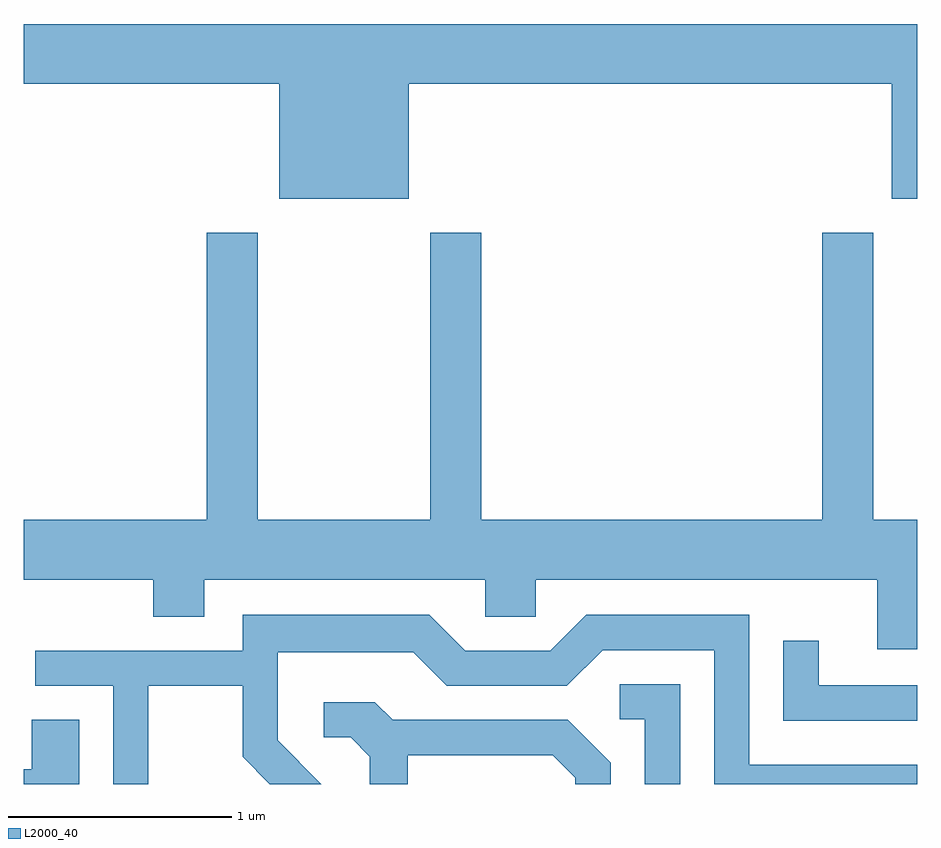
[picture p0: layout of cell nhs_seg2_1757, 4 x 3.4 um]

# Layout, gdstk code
import gdstk
lib = gdstk.Library(unit=1e-6, precision=1e-09)
def P(c, l, *ps):  # polygons
    for p in ps: c.add(gdstk.Polygon(p, *l))
L2000_40 = (2000, 40)

nhs_seg2_1757 = lib.new_cell('nhs_seg2_1757')
P(nhs_seg2_1757, L2000_40, [(237.334,1094.936),(239.496,1094.936),(239.496,1094.421),(239.611,1094.421),(239.611,1095.204),(235.611,1095.204),(235.611,1094.936),(236.756,1094.936),(236.756,1094.421),(237.334,1094.421)],
  [(237.659,1094.269),(237.431,1094.269),(237.431,1092.984),(236.659,1092.984),(236.659,1094.269),(236.431,1094.269),(236.431,1092.984),(235.611,1092.984),(235.611,1092.716),(236.191,1092.716),(236.191,1092.551),(236.419,1092.551),(236.419,1092.716),(237.676,1092.716),(237.676,1092.551),(237.904,1092.551),(237.904,1092.716),(239.431,1092.716),(239.431,1092.406),(239.611,1092.406),(239.611,1092.984),(239.414,1092.984),(239.414,1094.269),(239.186,1094.269),(239.186,1092.984),(237.659,1092.984)],
  [(236.169,1092.241),(236.591,1092.241),(236.591,1091.924),(236.713,1091.802),(236.944,1091.802),(236.749,1091.997),(236.749,1092.391),(237.354,1092.391),(237.504,1092.241),(238.042,1092.241),(238.202,1092.401),(238.701,1092.401),(238.701,1091.802),(239.611,1091.802),(239.611,1091.889),(238.859,1091.889),(238.859,1092.559),(238.129,1092.559),(237.969,1092.399),(237.587,1092.399),(237.427,1092.559),(236.591,1092.559),(236.591,1092.399),(235.663,1092.399),(235.663,1092.241),(236.011,1092.241),(236.011,1091.802),(236.169,1091.802)],
  [(239.611,1092.244),(239.169,1092.244),(239.169,1092.443),(239.011,1092.443),(239.011,1092.086),(239.611,1092.086)],
  [(238.549,1092.249),(238.278,1092.249),(238.278,1092.091),(238.391,1092.091),(238.391,1091.802),(238.549,1091.802)],
  [(237.329,1091.931),(237.979,1091.931),(238.081,1091.829),(238.081,1091.802),(238.239,1091.802),(238.239,1091.897),(238.047,1092.089),(237.262,1092.089),(237.182,1092.169),(236.953,1092.169),(236.953,1092.011),(237.074,1092.011),(237.161,1091.924),(237.161,1091.802),(237.329,1091.802)],
  [(235.859,1092.089),(235.646,1092.089),(235.646,1091.869),(235.611,1091.869),(235.611,1091.802),(235.859,1091.802)])

lib.write_gds('nhs_seg2_1757.gds')
